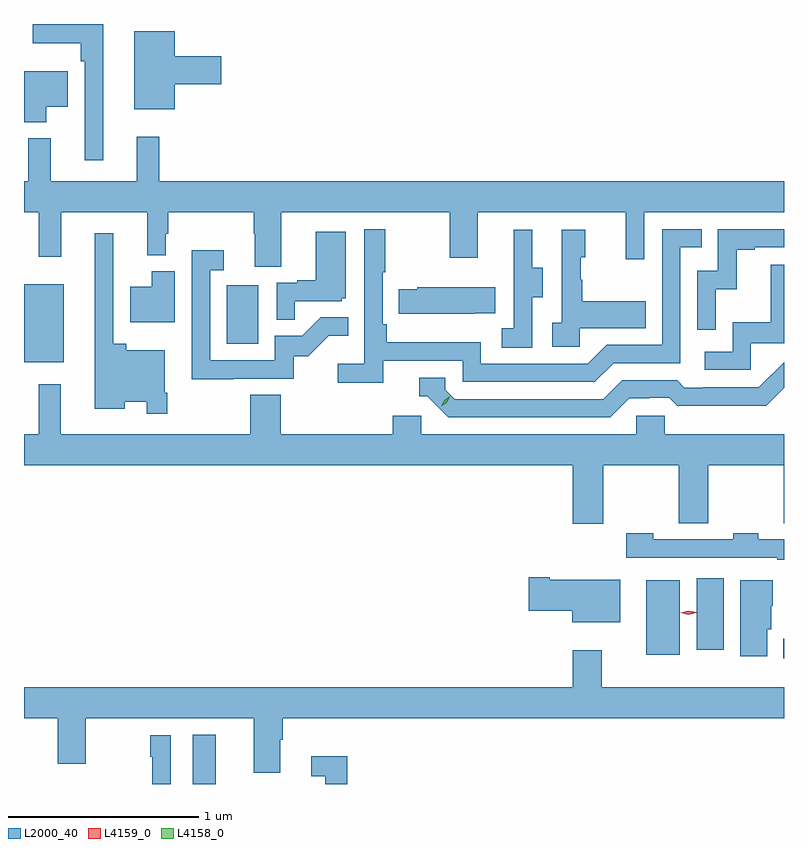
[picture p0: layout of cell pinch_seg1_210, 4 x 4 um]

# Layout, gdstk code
import gdstk
lib = gdstk.Library(unit=1e-6, precision=1e-09)
def R(c, l, rs):  # rectangles x0, y0, x1, y1
    for r in rs: c.add(gdstk.rectangle(r[:2], r[2:], *l))
def P(c, l, *ps):  # polygons
    for p in ps: c.add(gdstk.Polygon(p, *l))
L2000_40 = (2000, 40)
L4158_0 = (4158, 0)
L4159_0 = (4159, 0)

pinch_seg1_210 = lib.new_cell('pinch_seg1_210')
R(pinch_seg1_210, L2000_40, [(974.108,574.031,974.23,574.291), (977.217,574.694,977.22,574.796), (976.496,574.712,976.672,575.104), (976.76,574.737,976.903,575.113), (973.22,576.251,973.429,576.661), (974.288,576.348,974.452,576.655)])
P(pinch_seg1_210, L2000_40, [(973.636,578.031),(973.266,578.031),(973.266,577.931),(973.519,577.931),(973.519,577.835),(973.539,577.835),(973.539,577.314),(973.636,577.314)],
  [(974.014,577.715),(974.257,577.715),(974.257,577.862),(974.014,577.862),(974.014,577.993),(973.799,577.993),(973.799,577.583),(974.014,577.583)],
  [(973.336,577.595),(973.45,577.595),(973.45,577.783),(973.22,577.783),(973.22,577.514),(973.336,577.514)],
  [(973.931,577.438),(973.814,577.438),(973.814,577.204),(973.361,577.204),(973.361,577.429),(973.243,577.429),(973.243,577.204),(973.22,577.204),(973.22,577.04),(973.297,577.04),(973.297,576.807),(973.415,576.807),(973.415,577.04),(973.868,577.04),(973.868,576.815),(973.966,576.815),(973.966,576.928),(973.978,576.928),(973.978,577.04),(974.428,577.04),(974.428,576.928),(974.435,576.928),(974.435,576.754),(974.575,576.754),(974.575,577.04),(975.46,577.04),(975.46,576.801),(975.607,576.801),(975.607,577.04),(976.388,577.04),(976.388,576.792),(976.485,576.792),(976.485,577.04),(977.22,577.04),(977.22,577.204),(973.931,577.204)],
  [(975.11,576.258),(975.528,576.258),(975.528,576.147),(976.225,576.147),(976.324,576.246),(976.674,576.246),(976.674,576.855),(976.787,576.855),(976.787,576.951),(976.578,576.951),(976.578,576.342),(976.287,576.342),(976.188,576.243),(975.624,576.243),(975.624,576.355),(975.128,576.355),(975.128,576.451),(975.108,576.451),(975.108,576.724),(975.121,576.724),(975.121,576.952),(975.012,576.952),(975.012,576.244),(974.871,576.244),(974.871,576.142),(975.11,576.142)],
  [(976.86,576.635),(976.97,576.635),(976.97,576.843),(977.065,576.843),(977.065,576.855),(977.22,576.855),(977.22,576.951),(976.872,576.951),(976.872,576.732),(976.764,576.732),(976.764,576.423),(976.86,576.423)],
  [(975.894,576.592),(975.949,576.592),(975.949,576.747),(975.895,576.747),(975.895,576.949),(975.797,576.949),(975.797,576.735),(975.798,576.735),(975.798,576.431),(975.735,576.431),(975.735,576.328),(975.894,576.328)],
  [(976.146,576.431),(976.493,576.431),(976.493,576.571),(976.159,576.571),(976.159,576.686),(976.149,576.686),(976.149,576.804),(976.174,576.804),(976.174,576.949),(976.05,576.949),(976.05,576.458),(975.999,576.458),(975.999,576.333),(976.146,576.333)],
  [(974.645,576.573),(974.892,576.573),(974.892,576.588),(974.914,576.588),(974.914,576.937),(974.756,576.937),(974.756,576.682),(974.657,576.682),(974.657,576.669),(974.55,576.669),(974.55,576.475),(974.645,576.475)],
  [(973.975,576.091),(973.962,576.091),(973.962,576.313),(973.758,576.313),(973.758,576.349),(973.689,576.349),(973.689,576.931),(973.592,576.931),(973.592,576.005),(973.75,576.005),(973.75,576.044),(973.866,576.044),(973.866,575.979),(973.975,575.979)],
  [(974.321,576.165),(974.64,576.165),(974.64,576.282),(974.716,576.282),(974.823,576.389),(974.927,576.389),(974.927,576.488),(974.783,576.488),(974.685,576.39),(974.541,576.39),(974.541,576.261),(974.199,576.261),(974.199,576.735),(974.272,576.735),(974.272,576.841),(974.103,576.841),(974.103,576.16),(974.321,576.16)],
  [(977.046,576.351),(977.22,576.351),(977.22,576.763),(977.149,576.763),(977.149,576.46),(976.95,576.46),(976.95,576.306),(976.803,576.306),(976.803,576.21),(977.046,576.21)],
  [(974.014,576.73),(973.892,576.73),(973.892,576.649),(973.778,576.649),(973.778,576.461),(974.014,576.461)],
  [(975.593,576.509),(975.701,576.509),(975.701,576.646),(975.291,576.646),(975.291,576.636),(975.193,576.636),(975.193,576.506),(975.593,576.506)],
  [(976.405,576.06),(976.512,576.06),(976.512,576.063),(976.615,576.063),(976.657,576.021),(976.89,576.021),(976.89,576.023),(977.126,576.023),(977.22,576.117),(977.22,576.252),(977.088,576.12),(976.795,576.12),(976.795,576.117),(976.696,576.117),(976.657,576.156),(976.368,576.156),(976.269,576.057),(975.486,576.057),(975.438,576.105),(975.438,576.168),(975.299,576.168),(975.299,576.072),(975.342,576.072),(975.453,575.961),(976.306,575.961)],
  [(975.161,575.97),(975.161,575.872),(974.57,575.872),(974.57,576.08),(974.41,576.08),(974.41,575.872),(973.414,575.872),(973.414,576.136),(973.297,576.136),(973.297,575.872),(973.22,575.872),(973.22,575.708),(976.109,575.708),(976.109,575.4),(976.269,575.4),(976.269,575.708),(976.666,575.708),(976.666,575.404),(976.82,575.404),(976.82,575.708),(977.218,575.708),(977.218,575.404),(977.22,575.404),(977.22,575.872),(976.593,575.872),(976.593,575.97),(976.443,575.97),(976.443,575.872),(975.312,575.872),(975.312,575.97)],
  [(977.22,575.319),(977.085,575.319),(977.085,575.352),(976.953,575.352),(976.953,575.319),(976.533,575.319),(976.533,575.352),(976.389,575.352),(976.389,575.223),(977.185,575.223),(977.185,575.211),(977.22,575.211)],
  [(976.357,575.107),(975.988,575.107),(975.988,575.12),(975.876,575.12),(975.876,574.942),(976.106,574.942),(976.106,574.883),(976.357,574.883)],
  [(977.131,574.845),(977.152,574.845),(977.152,574.968),(977.161,574.968),(977.161,575.104),(976.991,575.104),(976.991,574.704),(977.131,574.704)],
  [(974.569,574.264),(974.582,574.264),(974.582,574.376),(977.22,574.376),(977.22,574.54),(976.261,574.54),(976.261,574.735),(976.109,574.735),(976.109,574.54),(973.22,574.54),(973.22,574.376),(973.397,574.376),(973.397,574.137),(973.545,574.137),(973.545,574.376),(974.429,574.376),(974.429,574.09),(974.569,574.09)],
  [(973.992,574.288),(973.884,574.288),(973.884,574.175),(973.896,574.175),(973.896,574.031),(973.992,574.031)],
  [(974.921,574.177),(974.733,574.177),(974.733,574.071),(974.805,574.071),(974.805,574.031),(974.921,574.031)])
P(pinch_seg1_210, L4158_0, [(975.415,576.019),(975.415,576.019),(975.431,576.051),(975.462,576.071),(975.462,576.071),(975.462,576.07),(975.446,576.038),(975.415,576.019)])
P(pinch_seg1_210, L4159_0, [(976.717,574.923),(976.676,574.932),(976.676,574.932),(976.676,574.933),(976.716,574.943),(976.757,574.934),(976.757,574.933),(976.757,574.933)])

lib.write_gds('pinch_seg1_210.gds')
